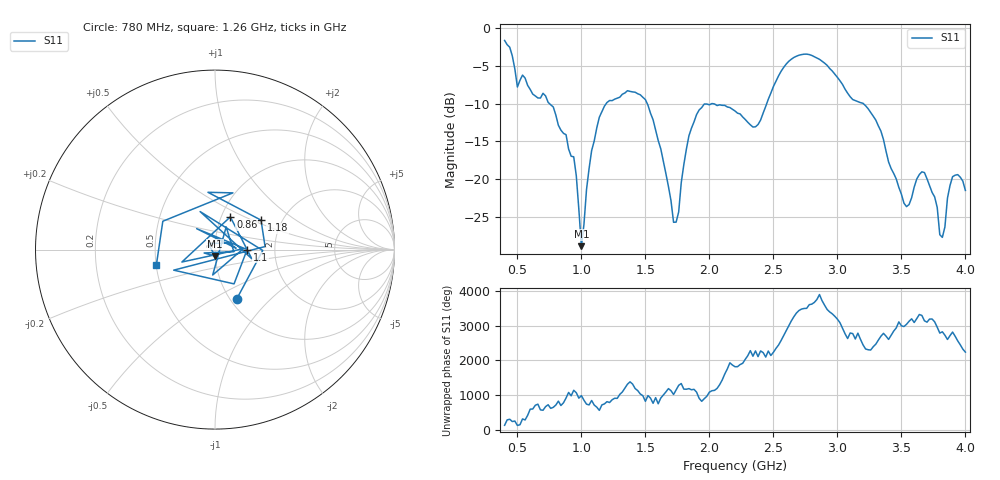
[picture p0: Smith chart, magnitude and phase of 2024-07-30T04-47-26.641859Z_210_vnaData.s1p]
!Created with skrf (http://scikit-rf.org).
# Hz S RI R 50.0
!freq ReS11 ImS11
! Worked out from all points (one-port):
!   181 points, 400 MHz to 4 GHz, reference 50 ohm
!   lowest |S11| = -28.8 dB at 1 GHz (marker M1), VSWR 1.08, Z = 49.9 - j3.62 ohm
!   |S11| at or under -10 dB: 750.4 MHz to 1.194 GHz (443.4 MHz wide, 45.6 % of centre); 1.514 GHz to 2.019 GHz (504.7 MHz wide, 28.6 % of centre); 3.203 GHz to end of sweep (the widest 3 of 4)
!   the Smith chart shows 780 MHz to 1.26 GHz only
!   S11 on the Smith chart (normalised r, x): 780 MHz: 1.07, -0.65; 860 MHz: 1.10, +0.42; 1.1 GHz: 1.44, +0.00; 1.18 GHz: 1.56, +0.57; 1.26 GHz: 0.50, -0.10
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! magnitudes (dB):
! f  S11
! 400 MHz  -1.7
! 500 MHz  -7.8
! 540 MHz  -6.2
! 780 MHz  -10.4
! 860 MHz  -13.9
! 940 MHz  -17.0
! 1 GHz  -28.8
! 1.1 GHz  -14.9
! 1.18 GHz  -10.3
! 1.26 GHz  -9.4
! 1.3 GHz  -9.2
! 1.5 GHz  -9.5
! 1.62 GHz  -16.0
! 1.72 GHz  -25.7
! 1.76 GHz  -24.3
! 1.82 GHz  -16.0
! 1.9 GHz  -11.4
! 2.2 GHz  -11.0
! 2.38 GHz  -12.8
! 2.66 GHz  -3.9
! 2.86 GHz  -4.2
! 3.1 GHz  -9.1
! 3.3 GHz  -12.2
! 3.56 GHz  -23.3
! 3.68 GHz  -19.1
! 3.82 GHz  -27.7
! 3.9 GHz  -19.6
! 4 GHz  -21.5
